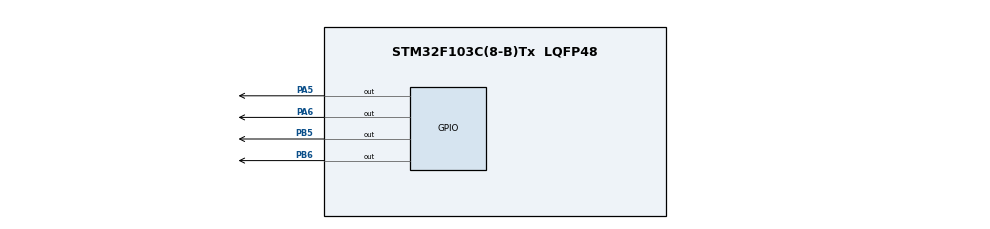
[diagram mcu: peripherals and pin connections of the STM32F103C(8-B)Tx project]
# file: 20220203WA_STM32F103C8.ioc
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Mcu.Family=STM32F1
Mcu.Name=STM32F103C(8-B)Tx
Mcu.Package=LQFP48
NVIC.PriorityGroup=NVIC_PRIORITYGROUP_4
PA5.Signal=GPIO_Output
PA6.Signal=GPIO_Output
PB5.GPIO_PuPd=GPIO_PULLUP
PB5.GPIO_Speed=GPIO_SPEED_FREQ_HIGH
PB5.Signal=GPIO_Output
PB6.Signal=GPIO_Output
ProjectManager.HeapSize=0x200
ProjectManager.StackSize=0x400
ProjectManager.TargetToolchain=STM32CubeIDE
RCC.APB1Freq_Value=8000000
RCC.APB2Freq_Value=8000000
VP_SYS_VS_ND.Mode=No_Debug
board=custom

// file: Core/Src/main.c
/* USER CODE BEGIN Header */
/**
  ******************************************************************************
  * @file           : main.c
  * @notes          : Main program body. This is ported into STM32Cube.
  *
  * This code was originally assembled by LvTong, with some help from
  *  Wen Qian, at Xixian lab Beijing in December 2016.
  *
  *  Jesse ported it in 2021/22. It took 2 months to port it.
  *  Why? Because of the Cube IDE. There are lots of things that have
  *  to be researched and replaced because the
  *  libraries are different.
  *
  *  HAL- HAL is insufficient. So found LL. LL is not ok. So back to CMSISS.
  *
  * It was unclear if Cube obeys the timer/PLL config, or if it rewrites
  *  based on the GUI. Could not find the assembly output.
  * Could have either started over from nothing, or used Kiel, which is what LvTong
  * used to write the original. But I wanted to keep this code that LvTong made,
  * because it has flava.
  *
  * LvTong you are a genius. Thanks for being awesome.
  * I should have obtained a windows computer and run Keil.
  *
  * Finally after weeks of unknown, the light came. Enabling the NVIC made it work.
  *
  * Cube creates all sorts of files that are unknown to me -
  * are they used? by what?
  * Anyway, don't use Cube if you can help it. But we make due.
  *
  * Nota bene: Installing Cube is not easy.
  * It is Java, it doesn't run without editing the run scripts.
  *
  ******************************************************************************
  *
  *        earwiggler2022 from motiondial2017
  *
  ******************************************************************************
  */
/* USER CODE END Header */

/* USER CODE BEGIN Includes */

#include "stm32f10x.h"
#include "stm32f10x_rcc.h"
#include "stm32f10x_it.h"
#include "stm32f10x_gpio.h"
#include "necsend.h"
#include "delay.h"
#include "stm32f10x_flash.h"
#include "stm32f10x_nvic.h"

#include "stm32f10x.h"
//#include "I2C_MPU6050.h" // this is gyro accelerometer
//#include "usart1.h"
#include "delay.h"
//#include "kalman.h"
#include "delay.h"

//#include "stm32f10x_lib.h" // i don't know, LvTong commented it out
// it doesn't exist anyway

#include "stm32f10x_it.h"
#include "necsend.h"
#include "stm32f10x_flash.h"
#include "stm32f10x_nvic.h"

/* USER CODE END Includes */

/* USER CODE BEGIN PD */

#define TIMxx TIM2
#define GPIOuput GPIOB
#define GPIOPin GPIO_Pin_5

int8_t fw ;//= 0;
int8_t fq ;//= 0;
int fa = 4;
int fb = 4;

void RCC_cfg(void);
void TIMER_cfg(void);
void NVIC_cfg(void);
void GPIO_cfg(void);
void blink(void); // blink if you are awake

/* USER CODE END PD */

///void SystemClock_Config(void);

/* USER CODE BEGIN 0 */

// see
// https://www.programmerall.com/article/86371923/
// why make things difficult?
// I ask you this, Cube.

#ifdef  USE_FULL_ASSERT
void assert_failed(uint8_t* file, uint32_t line)
{
    while (1)
    {
    }
}
#endif

void blink(void)
	{
	delay_ms(100);
	GPIO_WriteBit(GPIOB,GPIO_Pin_6, Bit_SET);
	delay_ms(100);
	GPIO_WriteBit(GPIOB,GPIO_Pin_6, Bit_RESET);
	delay_ms(100);
	GPIO_WriteBit(GPIOB,GPIO_Pin_6, Bit_SET);
	delay_ms(100);
	GPIO_WriteBit(GPIOB,GPIO_Pin_6, Bit_RESET);
	}

void RCC_cfg(void)

{

       //定义错误状态变量
       ErrorStatus HSEStartUpStatus;
       //将RCC寄存器重新设置为默认值
       RCC_DeInit();
       //打开外部高速时钟晶振
       RCC_HSEConfig(RCC_HSE_ON);
       //等待外部高速时钟晶振工作
       HSEStartUpStatus = RCC_WaitForHSEStartUp();
       if(HSEStartUpStatus == SUCCESS)
       {
              //设置AHB时钟(HCLK)为系统时钟
              RCC_HCLKConfig(RCC_SYSCLK_Div1);
              //设置高速AHB时钟(APB2)为HCLK时钟
              RCC_PCLK2Config(RCC_HCLK_Div1);
              //设置低速AHB时钟(APB1)为HCLK的2分频
              RCC_PCLK1Config(RCC_HCLK_Div2);
              //设置FLASH代码延时
              FLASH_SetLatency(FLASH_Latency_2);
              //使能预取指缓存
              FLASH_PrefetchBufferCmd(FLASH_PrefetchBuffer_Enable);
              //设置PLL时钟，为HSE的9倍频 8MHz * 9 = 72MHz
              RCC_PLLConfig(RCC_PLLSource_HSE_Div1, RCC_PLLMul_9);
              //使能PLL
              RCC_PLLCmd(ENABLE);
              //等待PLL准备就绪
              while(RCC_GetFlagStatus(RCC_FLAG_PLLRDY) == RESET);
              //设置PLL为系统时钟源
              RCC_SYSCLKConfig(RCC_SYSCLKSource_PLLCLK);
              //判断PLL是否是系统时钟
              while(RCC_GetSYSCLKSource() != 0x08);
       }
       //允许TIM2的时钟
       RCC_APB1PeriphClockCmd(RCC_APB1Periph_TIM2,ENABLE);
       //允许GPIO的时钟
       RCC_APB2PeriphClockCmd(RCC_APB2Periph_GPIOB,ENABLE);

}

void NVIC_cfg(void)
{
       NVIC_InitTypeDef NVIC_InitStructure;
        //选择中断分组1
        NVIC_PriorityGroupConfig(NVIC_PriorityGroup_1);
        //选择TIM2的中断通道
        NVIC_InitStructure.NVIC_IRQChannel = TIM2_IRQChannel;
        //抢占式中断优先级设置为0
        NVIC_InitStructure.NVIC_IRQChannelPreemptionPriority = 0;
       //响应式中断优先级设置为0
        NVIC_InitStructure.NVIC_IRQChannelSubPriority = 0;
       //使能中断
        NVIC_InitStructure.NVIC_IRQChannelCmd = ENABLE;
        NVIC_Init(&NVIC_InitStructure);
}

void GPIO_cfg(void)
{
       GPIO_InitTypeDef GPIO_InitStructure;
       GPIO_InitStructure.GPIO_Pin = GPIO_Pin_5;                 //选择引脚
       GPIO_InitStructure.GPIO_Speed = GPIO_Speed_50MHz; //输出频率最大50MHz
      GPIO_InitStructure.GPIO_Mode = GPIO_Mode_Out_PP; //带上拉电阻输出
       GPIO_Init(GPIOB,&GPIO_InitStructure);

       //GPIO_InitTypeDef GPIO_InitStructure;
       GPIO_InitStructure.GPIO_Pin = GPIO_Pin_6;                 //选择引脚
       GPIO_InitStructure.GPIO_Speed = GPIO_Speed_50MHz; //输出频率最大50MHz
      GPIO_InitStructure.GPIO_Mode = GPIO_Mode_Out_PP; //带上拉电阻输出
       GPIO_Init(GPIOB,&GPIO_InitStructure);

       //GPIO_InitTypeDef GPIO_InitStructure;
       GPIO_InitStructure.GPIO_Pin = GPIO_Pin_5;                 //选择引脚
       GPIO_InitStructure.GPIO_Speed = GPIO_Speed_50MHz; //输出频率最大50MHz
      GPIO_InitStructure.GPIO_Mode = GPIO_Mode_Out_PP; //带上拉电阻输出
       GPIO_Init(GPIOA,&GPIO_InitStructure);

       //GPIO_InitTypeDef GPIO_InitStructure;
       GPIO_InitStructure.GPIO_Pin = GPIO_Pin_6;                 //选择引脚
       GPIO_InitStructure.GPIO_Speed = GPIO_Speed_50MHz; //输出频率最大50MHz
      GPIO_InitStructure.GPIO_Mode = GPIO_Mode_Out_PP; //带上拉电阻输出
       GPIO_Init(GPIOA,&GPIO_InitStructure);

}

int main(void)
{

	RCC_cfg();
    NVIC_cfg();
    GPIO_cfg();
    TIMER_cfg();

   while (1)
   {

	   // some test words.
	   //[4682 ,4711, 4681,0,4683,5876,5540,5611,5503]

	   //this doesn't work
	   fa = 0b11011000;
	   fb = 0b00111101;
	   fa = 0xD8;//0b11011000;
	   fb = 0x3D;//0b00111101;

	   fa = 255;// Group (address)
	   fb = 0;// ID (person)

	   //works, make sure you start with Star_Submit.
	   Star_Submit();

	   Serial_Submit();
	   // format 2 is star 1 is serial // obsolete?
	   Submit_Data( (int8_t) 3, (int8_t) 5, (int8_t) 1  );

	   // if you don't sent 'Star_Submit' first then
	   // this line does not work at this location
	   // but it work if you send 3/5 first
	   // this is because of the timing on the NEC receiver

	   Serial_Submit();
	   fa = 3 ^ 5;
	   fb = fa ^ 5;
	   Submit_Data( fa, fb, (int8_t) 1  );
	   Star_Submit();

	   //works
	   GPIO_WriteBit(GPIOB,GPIO_Pin_5, Bit_RESET);
	   // turn off the IR LED

	   //flash the indicator
	   delay_ms(250);
	   GPIO_WriteBit(GPIOB,GPIO_Pin_6, Bit_SET);
	   delay_ms(25);
	   GPIO_WriteBit(GPIOB,GPIO_Pin_6, Bit_RESET);

   }

}

/* USER CODE END 0 */

/* USER CODE END 4 */

void Error_Handler(void)
{
  __disable_irq();
  while (1)
  {
  }
}
